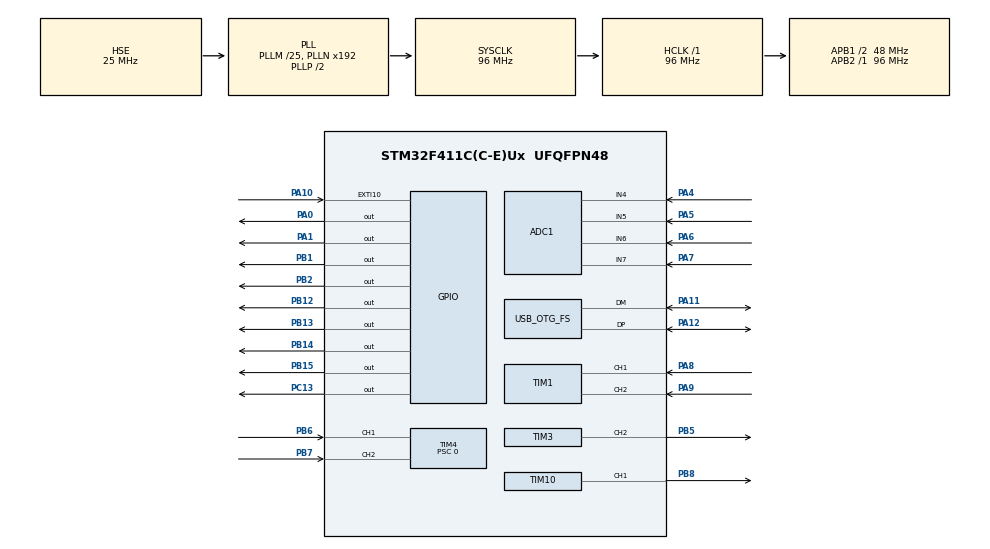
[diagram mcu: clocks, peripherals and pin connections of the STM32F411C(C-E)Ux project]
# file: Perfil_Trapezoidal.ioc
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ADC1.Channel-0\#ChannelRegularConversion=ADC_CHANNEL_4
ADC1.NbrOfConversionFlag=1
ADC1.Rank-0\#ChannelRegularConversion=1
ADC1.SamplingTime-0\#ChannelRegularConversion=ADC_SAMPLETIME_3CYCLES
ADC1.master=1
FREERTOS.Tasks01=Task1,2,128,StartDefaultTask,Default,NULL,Static,Task1Buffer,Task1ControlBlock;Task2,0,128,StartTask02,Default,NULL,Static,Task2Buffer,Task2ControlBlock;Task3,2,128,StartTask03,Default,NULL,Static,Task3Buffer,Task3ControlBlock;Task4,0,128,StartTask04,Default,NULL,Static,Task4Buffer,Task4ControlBlock
Mcu.Family=STM32F4
Mcu.Name=STM32F411C(C-E)Ux
Mcu.Package=UFQFPN48
NVIC.EXTI15_10_IRQn=true\:5\:0\:false\:false\:true\:true\:true\:true\:true
NVIC.OTG_FS_IRQn=true\:5\:0\:false\:false\:true\:true\:false\:true\:true
NVIC.PriorityGroup=NVIC_PRIORITYGROUP_4
NVIC.TIM2_IRQn=true\:5\:0\:false\:false\:true\:true\:true\:true\:true
PA0-WKUP.Signal=GPIO_Output
PA1.Signal=GPIO_Output
PA10.GPIO_PuPd=GPIO_PULLUP
PA10.Signal=GPXTI10
PA11.Mode=Device_Only
PA11.Signal=USB_OTG_FS_DM
PA12.Mode=Device_Only
PA12.Signal=USB_OTG_FS_DP
PA4.Signal=ADCx_IN4
PA5.Signal=ADCx_IN5
PA6.Signal=ADCx_IN6
PA7.Signal=ADCx_IN7
PA8.Signal=S_TIM1_CH1
PA9.Signal=S_TIM1_CH2
PB1.Signal=GPIO_Output
PB12.GPIO_ModeDefaultOutputPP=GPIO_MODE_OUTPUT_PP
PB12.GPIO_PuPd=GPIO_NOPULL
PB12.Signal=GPIO_Output
PB13.Signal=GPIO_Output
PB14.Signal=GPIO_Output
PB15.Signal=GPIO_Output
PB2.Signal=GPIO_Output
PB5.Signal=S_TIM3_CH2
PB6.Signal=S_TIM4_CH1
PB7.Signal=S_TIM4_CH2
PB8.Signal=S_TIM10_CH1
PC13-ANTI_TAMP.Signal=GPIO_Output
PH0\ -\ OSC_IN.Mode=HSE-External-Oscillator
PH0\ -\ OSC_IN.Signal=RCC_OSC_IN
PH1\ -\ OSC_OUT.Mode=HSE-External-Oscillator
PH1\ -\ OSC_OUT.Signal=RCC_OSC_OUT
ProjectManager.HeapSize=0x200
ProjectManager.StackSize=0x400
ProjectManager.TargetToolchain=STM32CubeIDE
RCC.48MHZClocksFreq_Value=48000000
RCC.AHBFreq_Value=96000000
RCC.APB1CLKDivider=RCC_HCLK_DIV2
RCC.APB1Freq_Value=48000000
RCC.APB1TimFreq_Value=96000000
RCC.APB2Freq_Value=96000000
RCC.APB2TimFreq_Value=96000000
RCC.CortexFreq_Value=96000000
RCC.HCLKFreq_Value=96000000
RCC.HSE_VALUE=25000000
RCC.HSI_VALUE=16000000
RCC.LSE_VALUE=32768
RCC.PLLM=25
RCC.SYSCLKFreq_VALUE=96000000
RCC.SYSCLKSource=RCC_SYSCLKSOURCE_PLLCLK
RCC.VCOOutputFreq_Value=192000000
SH.ADCx_IN4.0=ADC1_IN4,IN4
SH.ADCx_IN5.0=ADC1_IN5,IN5
SH.ADCx_IN6.0=ADC1_IN6,IN6
SH.ADCx_IN7.0=ADC1_IN7,IN7
SH.S_TIM10_CH1.0=TIM10_CH1,PWM Generation1 CH1
SH.S_TIM1_CH1.0=TIM1_CH1,Encoder_Interface
SH.S_TIM1_CH2.0=TIM1_CH2,Encoder_Interface
SH.S_TIM3_CH2.0=TIM3_CH2,PWM Generation2 CH2
SH.S_TIM4_CH1.0=TIM4_CH1,Encoder_Interface
SH.S_TIM4_CH2.0=TIM4_CH2,Encoder_Interface
TIM10.Channel=TIM_CHANNEL_1
TIM2.Period=10000-1
TIM2.Prescaler=96-1
TIM3.Channel-PWM\ Generation2\ CH2=TIM_CHANNEL_2
TIM4.Prescaler=0
TIM5.Prescaler=96-1
USB_DEVICE.CLASS_NAME_FS=CDC
USB_DEVICE.VirtualMode=Cdc
USB_DEVICE.VirtualModeFS=Cdc_FS
USB_OTG_FS.VirtualMode=Device_Only
VP_FREERTOS_VS_CMSIS_V1.Mode=CMSIS_V1
VP_TIM10_VS_ClockSourceINT.Mode=Enable_Timer
VP_TIM2_VS_ClockSourceINT.Mode=Internal
VP_TIM3_VS_ClockSourceINT.Mode=Internal
VP_TIM5_VS_ClockSourceINT.Mode=Internal
VP_USB_DEVICE_VS_USB_DEVICE_CDC_FS.Mode=CDC_FS
board=custom

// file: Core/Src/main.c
/* USER CODE BEGIN Header */
/**
  ******************************************************************************
  * @file           : main.c
  * @brief          : Main program body
  ******************************************************************************
  * @attention
  *
  * Copyright (c) 2025 STMicroelectronics.
  * All rights reserved.
  *
  * This software is licensed under terms that can be found in the LICENSE file
  * in the root directory of this software component.
  * If no LICENSE file comes with this software, it is provided AS-IS.
  *
  ******************************************************************************
  */
/* USER CODE END Header */
#include "main.h"
#include "cmsis_os.h"
#include "usb_device.h"

/* USER CODE BEGIN Includes */
#include "ades_motordc.h"
#include "ades_odometria.h"
#include "ades_trapezoidal.h"
#include "ades_usb.h"
#include "ades_speedcontrol.h"
#include "ades_movimiento.h"
#include "ades_ir.h"
/* USER CODE END Includes */

ADC_HandleTypeDef hadc1;

TIM_HandleTypeDef htim1;
TIM_HandleTypeDef htim2;
TIM_HandleTypeDef htim3;
TIM_HandleTypeDef htim4;
TIM_HandleTypeDef htim5;
TIM_HandleTypeDef htim10;

osThreadId Task1Handle;
uint32_t Task1Buffer[ 128 ];
osStaticThreadDef_t Task1ControlBlock;
osThreadId Task2Handle;
uint32_t Task2Buffer[ 128 ];
osStaticThreadDef_t Task2ControlBlock;
osThreadId Task3Handle;
uint32_t Task3Buffer[ 128 ];
osStaticThreadDef_t Task3ControlBlock;
osThreadId Task4Handle;
uint32_t Task4Buffer[ 128 ];
osStaticThreadDef_t Task4ControlBlock;
/* USER CODE BEGIN PV */
Pose pose;
ControlSpeed pid;
Eye eye;
Move move;

volatile uint8_t data = 0;
volatile uint8_t exti = 0;
volatile uint8_t acelera = 0;
volatile uint8_t mantenga = 0;
volatile uint8_t desacelera = 0;
volatile uint32_t time_s = 0;

uint8_t flag1 = 0;
uint8_t flag2 = 0;
uint32_t counter1 = 0;
uint32_t ccr_bruto = 0;
/* USER CODE END PV */

void SystemClock_Config(void);
static void MX_GPIO_Init(void);
static void MX_TIM2_Init(void);
static void MX_TIM3_Init(void);
static void MX_TIM4_Init(void);
static void MX_TIM5_Init(void);
static void MX_TIM1_Init(void);
static void MX_TIM10_Init(void);
static void MX_ADC1_Init(void);
void StartDefaultTask(void const * argument);
void StartTask02(void const * argument);
void StartTask03(void const * argument);
void StartTask04(void const * argument);

/* USER CODE BEGIN PFP */
void ades_delay_us(uint32_t tiempo);
/* USER CODE END PFP */

int main(void)
{

  /* MCU Configuration--------------------------------------------------------*/

  /* Reset of all peripherals, Initializes the Flash interface and the Systick. */
  HAL_Init();

  /* Configure the system clock */
  SystemClock_Config();

  /* Initialize all configured peripherals */
  MX_GPIO_Init();
  MX_TIM2_Init();
  MX_TIM3_Init();
  MX_TIM4_Init();
  MX_TIM5_Init();
  MX_TIM1_Init();
  MX_TIM10_Init();
  MX_ADC1_Init();
  /* USER CODE BEGIN 2 */
  HAL_TIM_Base_Start_IT(&htim2);
  HAL_TIM_Base_Start(&htim5);
  HAL_TIM_PWM_Start(&htim3, TIM_CHANNEL_2);
  HAL_TIM_PWM_Start(&htim10, TIM_CHANNEL_1);
  HAL_TIM_Encoder_Start(&htim4, TIM_CHANNEL_ALL);
  HAL_TIM_Encoder_Start(&htim1, TIM_CHANNEL_ALL);
  ades_speedcontrol_configure(&pid, 1.0, 1.0, 1.0, 290.0);
   pose.left_last_pulses = 0;
   pose.right_last_pulses = 0;
   move.time_s = 0;
   ADC_Init_Custom(&hadc1);
   ades_ir_PowerDownAll();

  /* USER CODE END 2 */

  /* Create the thread(s) */
  /* definition and creation of Task1 */
  osThreadStaticDef(Task1, StartDefaultTask, osPriorityHigh, 0, 128, Task1Buffer, &Task1ControlBlock);
  Task1Handle = osThreadCreate(osThread(Task1), NULL);

  /* definition and creation of Task2 */
  osThreadStaticDef(Task2, StartTask02, osPriorityNormal, 0, 128, Task2Buffer, &Task2ControlBlock);
  Task2Handle = osThreadCreate(osThread(Task2), NULL);

  /* definition and creation of Task3 */
  osThreadStaticDef(Task3, StartTask03, osPriorityHigh, 0, 128, Task3Buffer, &Task3ControlBlock);
  Task3Handle = osThreadCreate(osThread(Task3), NULL);

  /* definition and creation of Task4 */
  osThreadStaticDef(Task4, StartTask04, osPriorityNormal, 0, 128, Task4Buffer, &Task4ControlBlock);
  Task4Handle = osThreadCreate(osThread(Task4), NULL);

  /* Start scheduler */
  osKernelStart();

  /* We should never get here as control is now taken by the scheduler */

  /* Infinite loop */
  while (1)
  {

  }
}

void SystemClock_Config(void)
{
  RCC_OscInitTypeDef RCC_OscInitStruct = {0};
  RCC_ClkInitTypeDef RCC_ClkInitStruct = {0};

  /** Configure the main internal regulator output voltage
  */
  __HAL_RCC_PWR_CLK_ENABLE();
  __HAL_PWR_VOLTAGESCALING_CONFIG(PWR_REGULATOR_VOLTAGE_SCALE1);

  /** Initializes the RCC Oscillators according to the specified parameters
  * in the RCC_OscInitTypeDef structure.
  */
  RCC_OscInitStruct.OscillatorType = RCC_OSCILLATORTYPE_HSE;
  RCC_OscInitStruct.HSEState = RCC_HSE_ON;
  RCC_OscInitStruct.PLL.PLLState = RCC_PLL_ON;
  RCC_OscInitStruct.PLL.PLLSource = RCC_PLLSOURCE_HSE;
  RCC_OscInitStruct.PLL.PLLM = 25;
  RCC_OscInitStruct.PLL.PLLN = 192;
  RCC_OscInitStruct.PLL.PLLP = RCC_PLLP_DIV2;
  RCC_OscInitStruct.PLL.PLLQ = 4;
  if (HAL_RCC_OscConfig(&RCC_OscInitStruct) != HAL_OK)
  {
    Error_Handler();
  }

  /** Initializes the CPU, AHB and APB buses clocks
  */
  RCC_ClkInitStruct.ClockType = RCC_CLOCKTYPE_HCLK|RCC_CLOCKTYPE_SYSCLK
                              |RCC_CLOCKTYPE_PCLK1|RCC_CLOCKTYPE_PCLK2;
  RCC_ClkInitStruct.SYSCLKSource = RCC_SYSCLKSOURCE_PLLCLK;
  RCC_ClkInitStruct.AHBCLKDivider = RCC_SYSCLK_DIV1;
  RCC_ClkInitStruct.APB1CLKDivider = RCC_HCLK_DIV2;
  RCC_ClkInitStruct.APB2CLKDivider = RCC_HCLK_DIV1;

  if (HAL_RCC_ClockConfig(&RCC_ClkInitStruct, FLASH_LATENCY_3) != HAL_OK)
  {
    Error_Handler();
  }
}

static void MX_ADC1_Init(void)
{

  ADC_ChannelConfTypeDef sConfig = {0};

  /** Configure the global features of the ADC (Clock, Resolution, Data Alignment and number of conversion)
  */
  hadc1.Instance = ADC1;
  hadc1.Init.ClockPrescaler = ADC_CLOCK_SYNC_PCLK_DIV4;
  hadc1.Init.Resolution = ADC_RESOLUTION_12B;
  hadc1.Init.ScanConvMode = DISABLE;
  hadc1.Init.ContinuousConvMode = DISABLE;
  hadc1.Init.DiscontinuousConvMode = DISABLE;
  hadc1.Init.ExternalTrigConvEdge = ADC_EXTERNALTRIGCONVEDGE_NONE;
  hadc1.Init.ExternalTrigConv = ADC_SOFTWARE_START;
  hadc1.Init.DataAlign = ADC_DATAALIGN_RIGHT;
  hadc1.Init.NbrOfConversion = 1;
  hadc1.Init.DMAContinuousRequests = DISABLE;
  hadc1.Init.EOCSelection = ADC_EOC_SINGLE_CONV;
  if (HAL_ADC_Init(&hadc1) != HAL_OK)
  {
    Error_Handler();
  }

  /** Configure for the selected ADC regular channel its corresponding rank in the sequencer and its sample time.
  */
  sConfig.Channel = ADC_CHANNEL_4;
  sConfig.Rank = 1;
  sConfig.SamplingTime = ADC_SAMPLETIME_3CYCLES;
  if (HAL_ADC_ConfigChannel(&hadc1, &sConfig) != HAL_OK)
  {
    Error_Handler();
  }

}

static void MX_TIM1_Init(void)
{

  TIM_Encoder_InitTypeDef sConfig = {0};
  TIM_MasterConfigTypeDef sMasterConfig = {0};

  htim1.Instance = TIM1;
  htim1.Init.Prescaler = 0;
  htim1.Init.CounterMode = TIM_COUNTERMODE_UP;
  htim1.Init.Period = 65535;
  htim1.Init.ClockDivision = TIM_CLOCKDIVISION_DIV1;
  htim1.Init.RepetitionCounter = 0;
  htim1.Init.AutoReloadPreload = TIM_AUTORELOAD_PRELOAD_DISABLE;
  sConfig.EncoderMode = TIM_ENCODERMODE_TI1;
  sConfig.IC1Polarity = TIM_ICPOLARITY_RISING;
  sConfig.IC1Selection = TIM_ICSELECTION_DIRECTTI;
  sConfig.IC1Prescaler = TIM_ICPSC_DIV1;
  sConfig.IC1Filter = 0;
  sConfig.IC2Polarity = TIM_ICPOLARITY_RISING;
  sConfig.IC2Selection = TIM_ICSELECTION_DIRECTTI;
  sConfig.IC2Prescaler = TIM_ICPSC_DIV1;
  sConfig.IC2Filter = 0;
  if (HAL_TIM_Encoder_Init(&htim1, &sConfig) != HAL_OK)
  {
    Error_Handler();
  }
  sMasterConfig.MasterOutputTrigger = TIM_TRGO_RESET;
  sMasterConfig.MasterSlaveMode = TIM_MASTERSLAVEMODE_DISABLE;
  if (HAL_TIMEx_MasterConfigSynchronization(&htim1, &sMasterConfig) != HAL_OK)
  {
    Error_Handler();
  }

}

static void MX_TIM2_Init(void)
{

  TIM_ClockConfigTypeDef sClockSourceConfig = {0};
  TIM_MasterConfigTypeDef sMasterConfig = {0};

  htim2.Instance = TIM2;
  htim2.Init.Prescaler = 96-1;
  htim2.Init.CounterMode = TIM_COUNTERMODE_UP;
  htim2.Init.Period = 10000-1;
  htim2.Init.ClockDivision = TIM_CLOCKDIVISION_DIV1;
  htim2.Init.AutoReloadPreload = TIM_AUTORELOAD_PRELOAD_DISABLE;
  if (HAL_TIM_Base_Init(&htim2) != HAL_OK)
  {
    Error_Handler();
  }
  sClockSourceConfig.ClockSource = TIM_CLOCKSOURCE_INTERNAL;
  if (HAL_TIM_ConfigClockSource(&htim2, &sClockSourceConfig) != HAL_OK)
  {
    Error_Handler();
  }
  sMasterConfig.MasterOutputTrigger = TIM_TRGO_RESET;
  sMasterConfig.MasterSlaveMode = TIM_MASTERSLAVEMODE_DISABLE;
  if (HAL_TIMEx_MasterConfigSynchronization(&htim2, &sMasterConfig) != HAL_OK)
  {
    Error_Handler();
  }

}

static void MX_TIM3_Init(void)
{

  TIM_ClockConfigTypeDef sClockSourceConfig = {0};
  TIM_MasterConfigTypeDef sMasterConfig = {0};
  TIM_OC_InitTypeDef sConfigOC = {0};

  htim3.Instance = TIM3;
  htim3.Init.Prescaler = 0;
  htim3.Init.CounterMode = TIM_COUNTERMODE_UP;
  htim3.Init.Period = 65535;
  htim3.Init.ClockDivision = TIM_CLOCKDIVISION_DIV1;
  htim3.Init.AutoReloadPreload = TIM_AUTORELOAD_PRELOAD_DISABLE;
  if (HAL_TIM_Base_Init(&htim3) != HAL_OK)
  {
    Error_Handler();
  }
  sClockSourceConfig.ClockSource = TIM_CLOCKSOURCE_INTERNAL;
  if (HAL_TIM_ConfigClockSource(&htim3, &sClockSourceConfig) != HAL_OK)
  {
    Error_Handler();
  }
  if (HAL_TIM_PWM_Init(&htim3) != HAL_OK)
  {
    Error_Handler();
  }
  sMasterConfig.MasterOutputTrigger = TIM_TRGO_RESET;
  sMasterConfig.MasterSlaveMode = TIM_MASTERSLAVEMODE_DISABLE;
  if (HAL_TIMEx_MasterConfigSynchronization(&htim3, &sMasterConfig) != HAL_OK)
  {
    Error_Handler();
  }
  sConfigOC.OCMode = TIM_OCMODE_PWM1;
  sConfigOC.Pulse = 0;
  sConfigOC.OCPolarity = TIM_OCPOLARITY_HIGH;
  sConfigOC.OCFastMode = TIM_OCFAST_DISABLE;
  if (HAL_TIM_PWM_ConfigChannel(&htim3, &sConfigOC, TIM_CHANNEL_2) != HAL_OK)
  {
    Error_Handler();
  }
  HAL_TIM_MspPostInit(&htim3);

}

static void MX_TIM4_Init(void)
{

  TIM_Encoder_InitTypeDef sConfig = {0};
  TIM_MasterConfigTypeDef sMasterConfig = {0};

  htim4.Instance = TIM4;
  htim4.Init.Prescaler = 0;
  htim4.Init.CounterMode = TIM_COUNTERMODE_UP;
  htim4.Init.Period = 65535;
  htim4.Init.ClockDivision = TIM_CLOCKDIVISION_DIV1;
  htim4.Init.AutoReloadPreload = TIM_AUTORELOAD_PRELOAD_DISABLE;
  sConfig.EncoderMode = TIM_ENCODERMODE_TI1;
  sConfig.IC1Polarity = TIM_ICPOLARITY_RISING;
  sConfig.IC1Selection = TIM_ICSELECTION_DIRECTTI;
  sConfig.IC1Prescaler = TIM_ICPSC_DIV1;
  sConfig.IC1Filter = 0;
  sConfig.IC2Polarity = TIM_ICPOLARITY_RISING;
  sConfig.IC2Selection = TIM_ICSELECTION_DIRECTTI;
  sConfig.IC2Prescaler = TIM_ICPSC_DIV1;
  sConfig.IC2Filter = 0;
  if (HAL_TIM_Encoder_Init(&htim4, &sConfig) != HAL_OK)
  {
    Error_Handler();
  }
  sMasterConfig.MasterOutputTrigger = TIM_TRGO_RESET;
  sMasterConfig.MasterSlaveMode = TIM_MASTERSLAVEMODE_DISABLE;
  if (HAL_TIMEx_MasterConfigSynchronization(&htim4, &sMasterConfig) != HAL_OK)
  {
    Error_Handler();
  }

}

static void MX_TIM5_Init(void)
{

  TIM_ClockConfigTypeDef sClockSourceConfig = {0};
  TIM_MasterConfigTypeDef sMasterConfig = {0};

  htim5.Instance = TIM5;
  htim5.Init.Prescaler = 96-1;
  htim5.Init.CounterMode = TIM_COUNTERMODE_UP;
  htim5.Init.Period = 4294967295;
  htim5.Init.ClockDivision = TIM_CLOCKDIVISION_DIV1;
  htim5.Init.AutoReloadPreload = TIM_AUTORELOAD_PRELOAD_DISABLE;
  if (HAL_TIM_Base_Init(&htim5) != HAL_OK)
  {
    Error_Handler();
  }
  sClockSourceConfig.ClockSource = TIM_CLOCKSOURCE_INTERNAL;
  if (HAL_TIM_ConfigClockSource(&htim5, &sClockSourceConfig) != HAL_OK)
  {
    Error_Handler();
  }
  sMasterConfig.MasterOutputTrigger = TIM_TRGO_RESET;
  sMasterConfig.MasterSlaveMode = TIM_MASTERSLAVEMODE_DISABLE;
  if (HAL_TIMEx_MasterConfigSynchronization(&htim5, &sMasterConfig) != HAL_OK)
  {
    Error_Handler();
  }

}

static void MX_TIM10_Init(void)
{

  TIM_OC_InitTypeDef sConfigOC = {0};

  htim10.Instance = TIM10;
  htim10.Init.Prescaler = 0;
  htim10.Init.CounterMode = TIM_COUNTERMODE_UP;
  htim10.Init.Period = 65535;
  htim10.Init.ClockDivision = TIM_CLOCKDIVISION_DIV1;
  htim10.Init.AutoReloadPreload = TIM_AUTORELOAD_PRELOAD_DISABLE;
  if (HAL_TIM_Base_Init(&htim10) != HAL_OK)
  {
    Error_Handler();
  }
  if (HAL_TIM_PWM_Init(&htim10) != HAL_OK)
  {
    Error_Handler();
  }
  sConfigOC.OCMode = TIM_OCMODE_PWM1;
  sConfigOC.Pulse = 0;
  sConfigOC.OCPolarity = TIM_OCPOLARITY_HIGH;
  sConfigOC.OCFastMode = TIM_OCFAST_DISABLE;
  if (HAL_TIM_PWM_ConfigChannel(&htim10, &sConfigOC, TIM_CHANNEL_1) != HAL_OK)
  {
    Error_Handler();
  }
  HAL_TIM_MspPostInit(&htim10);

}

static void MX_GPIO_Init(void)
{
  GPIO_InitTypeDef GPIO_InitStruct = {0};

  /* GPIO Ports Clock Enable */
  __HAL_RCC_GPIOC_CLK_ENABLE();
  __HAL_RCC_GPIOH_CLK_ENABLE();
  __HAL_RCC_GPIOA_CLK_ENABLE();
  __HAL_RCC_GPIOB_CLK_ENABLE();

  /*Configure GPIO pin Output Level */
  HAL_GPIO_WritePin(GPIOC, GPIO_PIN_13, GPIO_PIN_RESET);

  /*Configure GPIO pin Output Level */
  HAL_GPIO_WritePin(GPIOA, GPIO_PIN_0|GPIO_PIN_1, GPIO_PIN_RESET);

  /*Configure GPIO pin Output Level */
  HAL_GPIO_WritePin(GPIOB, GPIO_PIN_1|GPIO_PIN_2|GPIO_PIN_12|GPIO_PIN_13
                          |GPIO_PIN_14|GPIO_PIN_15, GPIO_PIN_RESET);

  /*Configure GPIO pin : PC13 */
  GPIO_InitStruct.Pin = GPIO_PIN_13;
  GPIO_InitStruct.Mode = GPIO_MODE_OUTPUT_PP;
  GPIO_InitStruct.Pull = GPIO_NOPULL;
  GPIO_InitStruct.Speed = GPIO_SPEED_FREQ_LOW;
  HAL_GPIO_Init(GPIOC, &GPIO_InitStruct);

  /*Configure GPIO pins : PA0 PA1 */
  GPIO_InitStruct.Pin = GPIO_PIN_0|GPIO_PIN_1;
  GPIO_InitStruct.Mode = GPIO_MODE_OUTPUT_PP;
  GPIO_InitStruct.Pull = GPIO_NOPULL;
  GPIO_InitStruct.Speed = GPIO_SPEED_FREQ_LOW;
  HAL_GPIO_Init(GPIOA, &GPIO_InitStruct);

  /*Configure GPIO pins : PB1 PB2 PB12 PB13
                           PB14 PB15 */
  GPIO_InitStruct.Pin = GPIO_PIN_1|GPIO_PIN_2|GPIO_PIN_12|GPIO_PIN_13
                          |GPIO_PIN_14|GPIO_PIN_15;
  GPIO_InitStruct.Mode = GPIO_MODE_OUTPUT_PP;
  GPIO_InitStruct.Pull = GPIO_NOPULL;
  GPIO_InitStruct.Speed = GPIO_SPEED_FREQ_LOW;
  HAL_GPIO_Init(GPIOB, &GPIO_InitStruct);

  /*Configure GPIO pin : PA10 */
  GPIO_InitStruct.Pin = GPIO_PIN_10;
  GPIO_InitStruct.Mode = GPIO_MODE_IT_RISING;
  GPIO_InitStruct.Pull = GPIO_PULLUP;
  HAL_GPIO_Init(GPIOA, &GPIO_InitStruct);

  /* EXTI interrupt init*/
  HAL_NVIC_SetPriority(EXTI15_10_IRQn, 5, 0);
  HAL_NVIC_EnableIRQ(EXTI15_10_IRQn);

}

/* USER CODE BEGIN 4 */

void ades_delay_us(uint32_t tiempo){
	TIM5->CNT = 0;
	while(TIM5->CNT >= tiempo);
}

void HAL_GPIO_EXTI_Callback(uint16_t GPIO_Pin){
    if(GPIO_Pin == GPIO_PIN_10) // If The INT Source Is EXTI Line9 (A9 Pin)
    {
    	flag1 = 1;// Toggle The Output (LED) Pin
    }
}

/* USER CODE END 4 */

void StartDefaultTask(void const * argument)
{
  /* init code for USB_DEVICE */
  MX_USB_DEVICE_Init();
  /* USER CODE BEGIN 5 */
  /* Infinite loop */
  for(;;)
  {
	  updatePose ((int16_t) TIM4->CNT, (int16_t) TIM1->CNT, 10.0, &pose);
	  osDelay(10);
  }
  /* USER CODE END 5 */
}

void StartTask02(void const * argument)
{
  /* USER CODE BEGIN StartTask02 */
  /* Infinite loop */
  for(;;)
  {
	if(flag1 == 1){
		ades_movimiento_lineal(5*180.0, 100.0, 150.0, &pose, &move, &pid);
		ades_movimiento_angular(M_PI, 1.0, 4.8, &pose, &move, &pid);
		ades_movimiento_lineal(2*180.0, 100.0, 150.0, &pose, &move, &pid);
		flag1 = 0;
	}
    osDelay(1);
  }
  /* USER CODE END StartTask02 */
}

void StartTask03(void const * argument)
{
  /* USER CODE BEGIN StartTask03 */
  /* Infinite loop */
  for(;;){
	  ades_ir_CalculateDistances(&eye, &hadc1);
      osDelay(1);
  }
  /* USER CODE END StartTask03 */
}

void StartTask04(void const * argument)
{
  for(;;)
  {
    osDelay(1);
  }
}

void Error_Handler(void)
{
  __disable_irq();
  while (1)
  {
  }
}
